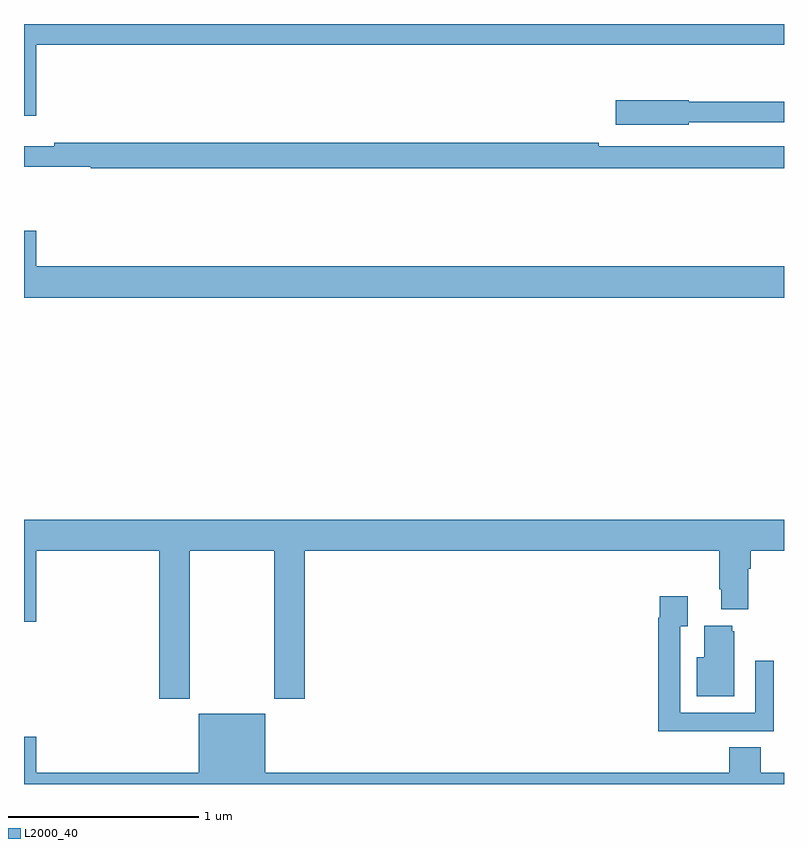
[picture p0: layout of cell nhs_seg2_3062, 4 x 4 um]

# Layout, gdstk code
import gdstk
lib = gdstk.Library(unit=1e-6, precision=1e-09)
def P(c, l, *ps):  # polygons
    for p in ps: c.add(gdstk.Polygon(p, *l))
L2000_40 = (2000, 40)

nhs_seg2_3062 = lib.new_cell('nhs_seg2_3062')
P(nhs_seg2_3062, L2000_40, [(273.064,591.692),(277,591.692),(277,591.8),(273,591.8),(273,591.318),(273.064,591.318)],
  [(276.498,591.282),(277,591.282),(277,591.391),(276.498,591.391),(276.498,591.399),(276.114,591.399),(276.114,591.269),(276.498,591.269)],
  [(277,591.156),(276.026,591.156),(276.026,591.176),(273.16,591.176),(273.16,591.157),(273,591.157),(273,591.048),(273.35,591.048),(273.35,591.04),(277,591.04)],
  [(277,590.524),(273.064,590.524),(273.064,590.713),(273,590.713),(273,590.36),(277,590.36)],
  [(273.873,589.028),(274.318,589.028),(274.318,588.249),(274.478,588.249),(274.478,589.028),(276.659,589.028),(276.659,588.826),(276.671,588.826),(276.671,588.719),(276.811,588.719),(276.811,588.932),(276.824,588.932),(276.824,589.028),(277,589.028),(277,589.192),(273,589.192),(273,588.654),(273.064,588.654),(273.064,589.028),(273.713,589.028),(273.713,588.249),(273.873,588.249)],
  [(276.629,588.078),(276.945,588.078),(276.945,588.448),(276.849,588.448),(276.849,588.174),(276.453,588.174),(276.453,588.631),(276.493,588.631),(276.493,588.787),(276.345,588.787),(276.345,588.674),(276.337,588.674),(276.337,588.077),(276.629,588.077)],
  [(276.739,588.603),(276.728,588.603),(276.728,588.634),(276.581,588.634),(276.581,588.466),(276.542,588.466),(276.542,588.263),(276.739,588.263)],
  [(277,587.86),(276.878,587.86),(276.878,587.993),(276.713,587.993),(276.713,587.86),(274.27,587.86),(274.27,588.169),(273.92,588.169),(273.92,587.86),(273.064,587.86),(273.064,588.049),(273,588.049),(273,587.8),(277,587.8)])

lib.write_gds('nhs_seg2_3062.gds')
